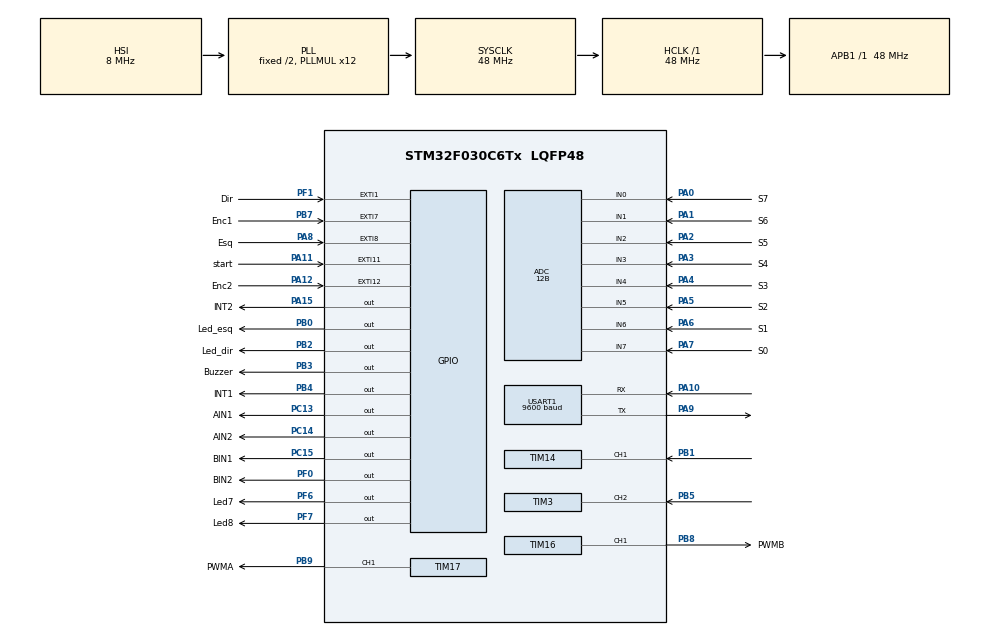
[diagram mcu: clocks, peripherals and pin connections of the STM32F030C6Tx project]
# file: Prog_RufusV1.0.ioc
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ADC.ClockPrescaler=ADC_CLOCK_ASYNC_DIV1
ADC.ContinuousConvMode=ENABLE
ADC.DMAContinuousRequests=ENABLE
ADC.EOCSelection=ADC_EOC_SEQ_CONV
ADC.Resolution=ADC_RESOLUTION_12B
ADC.SamplingTime=ADC_SAMPLETIME_7CYCLES_5
Dma.ADC.0.Direction=DMA_PERIPH_TO_MEMORY
Dma.ADC.0.Instance=DMA1_Channel1
Dma.ADC.0.MemDataAlignment=DMA_MDATAALIGN_HALFWORD
Dma.ADC.0.MemInc=DMA_MINC_ENABLE
Dma.ADC.0.Mode=DMA_CIRCULAR
Dma.ADC.0.PeriphDataAlignment=DMA_PDATAALIGN_HALFWORD
Dma.ADC.0.PeriphInc=DMA_PINC_DISABLE
Dma.ADC.0.Priority=DMA_PRIORITY_HIGH
Dma.Request0=ADC
Dma.Request1=USART1_RX
Dma.USART1_RX.1.Direction=DMA_PERIPH_TO_MEMORY
Dma.USART1_RX.1.Instance=DMA1_Channel3
Dma.USART1_RX.1.MemDataAlignment=DMA_MDATAALIGN_BYTE
Dma.USART1_RX.1.MemInc=DMA_MINC_ENABLE
Dma.USART1_RX.1.Mode=DMA_CIRCULAR
Dma.USART1_RX.1.PeriphDataAlignment=DMA_PDATAALIGN_BYTE
Dma.USART1_RX.1.PeriphInc=DMA_PINC_DISABLE
Dma.USART1_RX.1.Priority=DMA_PRIORITY_VERY_HIGH
Mcu.Family=STM32F0
Mcu.Name=STM32F030C6Tx
Mcu.Package=LQFP48
NVIC.ADC1_IRQn=true\:1\:0\:true\:false\:true\:true\:true
NVIC.DMA1_Channel1_IRQn=true\:1\:0\:true\:false\:true\:false\:true
NVIC.DMA1_Channel2_3_IRQn=true\:1\:0\:true\:false\:true\:false\:true
NVIC.EXTI0_1_IRQn=true\:0\:0\:true\:false\:true\:true\:true
NVIC.EXTI4_15_IRQn=true\:0\:0\:true\:false\:true\:true\:true
NVIC.TIM14_IRQn=true\:1\:0\:true\:false\:true\:true\:true
NVIC.TIM3_IRQn=true\:1\:0\:true\:false\:true\:true\:true
NVIC.USART1_IRQn=true\:1\:0\:true\:false\:true\:true\:true
PA0.GPIO_Label=S7
PA0.Mode=IN0
PA0.Signal=ADC_IN0
PA1.GPIO_Label=S6
PA1.Mode=IN1
PA1.Signal=ADC_IN1
PA10.Mode=Asynchronous
PA10.Signal=USART1_RX
PA11.GPIO_Label=start
PA11.GPIO_ModeDefaultEXTI=GPIO_MODE_IT_RISING
PA11.Signal=GPXTI11
PA12.GPIO_Label=Enc2
PA12.Signal=GPXTI12
PA13.Mode=Serial_Wire
PA13.Signal=SYS_SWDIO
PA14.Mode=Serial_Wire
PA14.Signal=SYS_SWCLK
PA15.GPIO_Label=INT2
PA15.Signal=GPIO_Output
PA2.GPIO_Label=S5
PA2.Mode=IN2
PA2.Signal=ADC_IN2
PA3.GPIO_Label=S4
PA3.Mode=IN3
PA3.Signal=ADC_IN3
PA4.GPIO_Label=S3
PA4.Mode=IN4
PA4.Signal=ADC_IN4
PA5.GPIO_Label=S2
PA5.Mode=IN5
PA5.Signal=ADC_IN5
PA6.GPIO_Label=S1
PA6.Mode=IN6
PA6.Signal=ADC_IN6
PA7.GPIO_Label=S0
PA7.Mode=IN7
PA7.Signal=ADC_IN7
PA8.GPIO_Label=Esq
PA8.GPIO_PuPd=GPIO_NOPULL
PA8.Signal=GPXTI8
PA9.Mode=Asynchronous
PA9.Signal=USART1_TX
PB0.GPIO_Label=Led_esq
PB0.GPIO_PuPd=GPIO_NOPULL
PB0.PinState=GPIO_PIN_SET
PB0.Signal=GPIO_Output
PB1.Signal=S_TIM14_CH1
PB2.GPIO_Label=Led_dir
PB2.GPIO_PuPd=GPIO_NOPULL
PB2.PinState=GPIO_PIN_SET
PB2.Signal=GPIO_Output
PB3.GPIO_Label=Buzzer
PB3.Signal=GPIO_Output
PB4.GPIO_Label=INT1
PB4.Signal=GPIO_Output
PB5.Signal=S_TIM3_CH2
PB7.GPIO_Label=Enc1
PB7.Signal=GPXTI7
PB8.GPIO_Label=PWMB
PB8.Signal=S_TIM16_CH1
PB9.GPIO_Label=PWMA
PB9.Signal=S_TIM17_CH1
PC13.GPIO_Label=AIN1
PC13.Signal=GPIO_Output
PC14-OSC32_IN.GPIO_Label=AIN2
PC14-OSC32_IN.Signal=GPIO_Output
PC15-OSC32_OUT.GPIO_Label=BIN1
PC15-OSC32_OUT.Signal=GPIO_Output
PF0-OSC_IN.GPIO_Label=BIN2
PF0-OSC_IN.Signal=GPIO_Output
PF1-OSC_OUT.GPIO_Label=Dir
PF1-OSC_OUT.GPIO_ModeDefaultEXTI=GPIO_MODE_IT_FALLING
PF1-OSC_OUT.GPIO_PuPd=GPIO_NOPULL
PF1-OSC_OUT.Signal=GPXTI1
PF6.GPIO_Label=Led7
PF6.GPIO_PuPd=GPIO_NOPULL
PF6.GPIO_Speed=GPIO_SPEED_FREQ_LOW
PF6.PinState=GPIO_PIN_SET
PF6.Signal=GPIO_Output
PF7.GPIO_Label=Led8
PF7.GPIO_PuPd=GPIO_NOPULL
PF7.PinState=GPIO_PIN_SET
PF7.Signal=GPIO_Output
ProjectManager.HeapSize=0x200
ProjectManager.StackSize=0x400
ProjectManager.TargetToolchain=SW4STM32
RCC.AHBFreq_Value=48000000
RCC.APB1Freq_Value=48000000
RCC.APB1TimFreq_Value=48000000
RCC.HCLKFreq_Value=48000000
RCC.PLLMUL=RCC_PLL_MUL12
RCC.SYSCLKFreq_VALUE=48000000
RCC.SYSCLKSource=RCC_SYSCLKSOURCE_PLLCLK
SH.S_TIM14_CH1.0=TIM14_CH1,Input_Capture1_from_TI1
SH.S_TIM16_CH1.0=TIM16_CH1,PWM Generation1 CH1
SH.S_TIM17_CH1.0=TIM17_CH1,PWM Generation1 CH1
SH.S_TIM3_CH2.0=TIM3_CH2,Input_Capture2_from_TI2
TIM1.Period=64999
TIM1.Prescaler=47
TIM14.Channel=TIM_CHANNEL_1
TIM14.Period=1000
TIM14.Prescaler=47
TIM16.Channel=TIM_CHANNEL_1
TIM16.OCFastMode_PWM=TIM_OCFAST_ENABLE
TIM16.Period=1000
TIM16.Prescaler=4
TIM17.Channel=TIM_CHANNEL_1
TIM17.ClockDivision=TIM_CLOCKDIVISION_DIV1
TIM17.OCFastMode_PWM=TIM_OCFAST_ENABLE
TIM17.OCMode_PWM=TIM_OCMODE_PWM1
TIM17.Period=1000
TIM17.Prescaler=4
TIM3.AutoReloadPreload=TIM_AUTORELOAD_PRELOAD_DISABLE
TIM3.Channel-Input_Capture2_from_TI2=TIM_CHANNEL_2
TIM3.Period=1
TIM3.Prescaler=47999
USART1.BaudRate=9600
USART1.SwapParam=ADVFEATURE_SWAP_ENABLE
USART1.VirtualMode-Asynchronous=VM_ASYNC
VP_TIM14_VS_ClockSourceINT.Mode=Enable_Timer
VP_TIM16_VS_ClockSourceINT.Mode=Enable_Timer
VP_TIM17_VS_ClockSourceINT.Mode=Enable_Timer
VP_TIM1_VS_ClockSourceINT.Mode=Internal
VP_TIM3_VS_ClockSourceINT.Mode=Internal
board=custom

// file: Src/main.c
/* USER CODE BEGIN Header */
/**
 ******************************************************************************
 * @file           : main.c
 * @brief          : Main program body
 ******************************************************************************
 * @attention
 *
 * <h2><center>&copy; Copyright (c) 2019 STMicroelectronics.
 * All rights reserved.</center></h2>
 *
 * This software component is licensed by ST under BSD 3-Clause license,
 * the "License"; You may not use this file except in compliance with the
 * License. You may obtain a copy of the License at:
 *                        opensource.org/licenses/BSD-3-Clause
 *
 ******************************************************************************
 */
/* USER CODE END Header */

#include "main.h"
#include "adc.h"
#include "dma.h"
#include "tim.h"
#include "usart.h"
#include "gpio.h"

/* USER CODE BEGIN Includes */
#include "drive_TB66.h"
#include "controle.h"
#include "Bluetooth.h"
//#include "controle.h"
/* USER CODE END Includes */

void SystemClock_Config(void);

/* USER CODE BEGIN 0 */
uint8_t rx_endereco[Pacote_variaveis] = { 0 };
rx_pacote_estado_t pacote_estado = RX_STATUS_ERRO;
void serial_init(void) {
	MX_DMA_Init();
	MX_USART1_UART_Init();
	HAL_UART_Receive_DMA(&huart1, rx_endereco, Pacote_variaveis);

}
uint8_t adc_completo = 0;
void HAL_ADC_ConvCpltCallback(ADC_HandleTypeDef* hadc) {

	adc_completo = 1;
}
void HAL_UART_RxCpltCallback(UART_HandleTypeDef* huart) {

	if (huart->Instance != USART1) {
		return;
	}

	if (rx_endereco[RX_Pacote_Comeco_I] != RX_Pacote_comeco
			|| rx_endereco[RX_Pacote_fim_I] != RX_Pacote_fim) {
		pacote_estado = RX_STATUS_ERRO;
		for (int i = 0; i < Pacote_variaveis; i++) {
			rx_endereco[i] = 0;
		}
		return;
	}

	Start = rx_endereco[RX_Pacote_Start_I];

	Direita_Recebida = rx_endereco[RX_Pacote_Direita_I];

	Encoder1_Recebida = rx_endereco[RX_Pacote_Encoder_I];

	Velocidade_Inicial_Recebida = rx_endereco[RX_Pacote_velocidade_inicial_I];

	Velocidade_Final_Recebida = rx_endereco[RX_Pacote_velocidade_Final_I];

	Kp_Recebido = (rx_endereco[RX_Pacote_Kp_I]);

	Kd_Recebido = (rx_endereco[RX_Pacote_Kd_I]);

	Ki_Recebido = (rx_endereco[RX_Pacote_Ki_I]);

}
volatile int scan;
void HAL_TIM_PeriodElapsedCallback(TIM_HandleTypeDef *htim) {
	if (htim->Instance == TIM3) {
		posicao();
		PID();
		TIM3->SR &= ~TIM_SR_UIF;
	}
	if (htim->Instance == TIM14) {
		scanner();
		scan++;
		TIM14->SR &= ~TIM_SR_UIF;
	}
}

/* USER CODE END 0 */

int main(void) {

	/* MCU Configuration--------------------------------------------------------*/

	/* Reset of all peripherals, Initializes the Flash interface and the Systick. */
	HAL_Init();

	/* Configure the system clock */
	SystemClock_Config();

	/* Initialize all configured peripherals */
	MX_GPIO_Init();
	MX_DMA_Init();
	MX_ADC_Init();
	MX_TIM1_Init();
	MX_TIM14_Init();
	MX_TIM16_Init();
	MX_TIM17_Init();
	MX_USART1_UART_Init();
	MX_TIM3_Init();
	/* USER CODE BEGIN 2 */
	serial_init();
	power = 0;
	Direita = 0;
	Esquerda = 1;
	Encoder1 = 0;
	Encoder2 = 0;
	int reset = 1;
	int vi_1PID;
	int vi_2PID;
	/* USER CODE END 2 */

	/* Infinite loop */
	/* USER CODE BEGIN WHILE */
	while (1) {
		HAL_GPIO_WritePin(Led_dir_GPIO_Port, Led_dir_Pin,SET);
		HAL_GPIO_WritePin(Led_esq_GPIO_Port, Led_esq_Pin,SET);
		HAL_GPIO_WritePin(Led8_GPIO_Port, Led8_Pin, RESET);
		while ((power) || (Start)) {
			vi_1 = 25; // Velocidade_Inicial_Recebida;
			vi_2 = 25; //Velocidade_Inicial_Recebida;
			HAL_GPIO_WritePin(Led7_GPIO_Port, Led7_Pin, RESET);
			HAL_Delay(2000);
			HAL_ADCEx_Calibration_Start(&hadc);
			HAL_ADC_Start_DMA(&hadc, (uint32_t*) adc_valor, 8);
			while (!adc_completo)
				;
			adc_completo = 0;
			inicia_scanner();
			HAL_TIM_Base_Start_IT(&htim14);
			while (scan < 450) {
				velocidade_motor1(0);
				velocidade_motor2(21);
			}
			scan = 0;
			velocidade_motor1(0);
			velocidade_motor2(0);
			motor1_freio();
			motor2_freio();
			HAL_Delay(250);
			while (scan < 1000) {
				velocidade_motor1(0);
				velocidade_motor2(-21);
			}
			scan = 0;
			velocidade_motor1(0);
			velocidade_motor2(0);
			motor1_freio();
			motor2_freio();
			HAL_Delay(250);
			while (scan < 620) {
				velocidade_motor1(0);
				velocidade_motor2(21);
			}
			velocidade_motor1(0);
			velocidade_motor2(0);
			motor1_freio();
			motor2_freio();
			HAL_Delay(500);
			/*while (scan < 10000) {
			 }
			 HAL_GPIO_WritePin(Led7_GPIO_Port, Led7_Pin, SET);
			 HAL_Delay(2000);
			 */
			HAL_TIM_Base_Stop_IT(&htim14);
			HAL_TIM_Base_Start_IT(&htim3);
			Direita = 0;
			vi_1 = 25; // Velocidade_Inicial_Recebida;
			vi_2 = 25; // Velocidade_Inicial_Recebida;
			while ((power) || (Start)) {
				HAL_GPIO_WritePin(Led_dir_GPIO_Port, Led_dir_Pin,SET);
				HAL_GPIO_WritePin(Led_esq_GPIO_Port, Led_esq_Pin,SET);
				//velocidade_motor1(+PID_valor);
				//velocidade_motor2(-PID_valor);
				if (valor_posicao == 0) {
					/*if (vi_1 < 25) { //Velocidade_Final_Recebida) {
						vi_1++;
						vi_2++;
					}*/
					velocidade_motor1(vi_1);
					velocidade_motor2(vi_2);

				} else {
					velocidade_motor1(vi_1 + PID_valor);
					velocidade_motor2(vi_2 - PID_valor);
				}
				if (Direita >= 4) { //Direita_Recebida) {
					if (Encoder1 >= 25) { //Encoder1_Recebida) { //antigo = 25
						while (reset) {
							velocidade_motor1(0);
							velocidade_motor2(0);
							motor1_freio();
							motor2_freio();
							HAL_GPIO_WritePin(Led7_GPIO_Port, Led7_Pin, SET);
							if (!Start) {
								power = 0;
								reset = 0;
								Direita = 0;
								Encoder1 = 0;
							}
						}
					}
				}
			}
			if (!Start) {
				reset = 1;
				Direita = 0;
				Encoder1 = 0;
				velocidade_motor1(0);
				velocidade_motor2(0);
				motor1_freio();
				motor2_freio();
				HAL_GPIO_WritePin(Led7_GPIO_Port, Led7_Pin, SET);
			}
		}
		/* USER CODE END WHILE */

	}
}

void SystemClock_Config(void) {
	RCC_OscInitTypeDef RCC_OscInitStruct = { 0 };
	RCC_ClkInitTypeDef RCC_ClkInitStruct = { 0 };
	RCC_PeriphCLKInitTypeDef PeriphClkInit = { 0 };

	/** Initializes the CPU, AHB and APB busses clocks
	 */
	RCC_OscInitStruct.OscillatorType = RCC_OSCILLATORTYPE_HSI
			| RCC_OSCILLATORTYPE_HSI14;
	RCC_OscInitStruct.HSIState = RCC_HSI_ON;
	RCC_OscInitStruct.HSI14State = RCC_HSI14_ON;
	RCC_OscInitStruct.HSICalibrationValue = RCC_HSICALIBRATION_DEFAULT;
	RCC_OscInitStruct.HSI14CalibrationValue = 16;
	RCC_OscInitStruct.PLL.PLLState = RCC_PLL_ON;
	RCC_OscInitStruct.PLL.PLLSource = RCC_PLLSOURCE_HSI;
	RCC_OscInitStruct.PLL.PLLMUL = RCC_PLL_MUL12;
	RCC_OscInitStruct.PLL.PREDIV = RCC_PREDIV_DIV1;
	if (HAL_RCC_OscConfig(&RCC_OscInitStruct) != HAL_OK) {
		Error_Handler();
	}
	/** Initializes the CPU, AHB and APB busses clocks
	 */
	RCC_ClkInitStruct.ClockType = RCC_CLOCKTYPE_HCLK | RCC_CLOCKTYPE_SYSCLK
			| RCC_CLOCKTYPE_PCLK1;
	RCC_ClkInitStruct.SYSCLKSource = RCC_SYSCLKSOURCE_PLLCLK;
	RCC_ClkInitStruct.AHBCLKDivider = RCC_SYSCLK_DIV1;
	RCC_ClkInitStruct.APB1CLKDivider = RCC_HCLK_DIV1;

	if (HAL_RCC_ClockConfig(&RCC_ClkInitStruct, FLASH_LATENCY_1) != HAL_OK) {
		Error_Handler();
	}
	PeriphClkInit.PeriphClockSelection = RCC_PERIPHCLK_USART1;
	PeriphClkInit.Usart1ClockSelection = RCC_USART1CLKSOURCE_PCLK1;
	if (HAL_RCCEx_PeriphCLKConfig(&PeriphClkInit) != HAL_OK) {
		Error_Handler();
	}
	HAL_RCC_MCOConfig(RCC_MCO, RCC_MCO1SOURCE_SYSCLK, RCC_MCODIV_1);
}

/* USER CODE BEGIN 4 */

void HAL_GPIO_EXTI_Callback(uint16_t GPIO_Pin) {
	/*if (!HAL_GPIO_ReadPin(Esq_GPIO_Port, Esq_Pin)) {
		if (!HAL_GPIO_ReadPin(Esq_GPIO_Port, Esq_Pin)) {
			int tempo = 3;
			unsigned int valorNovo = 0x0000;
			unsigned int valorAntigo = 0x0000;
			valorNovo = HAL_GPIO_ReadPin(Esq_GPIO_Port, Esq_Pin);
			HAL_GPIO_WritePin(Led_esq_GPIO_Port, Led_esq_Pin,RESET);
			if (valorAntigo == valorNovo) {
				tempo--;
			} else {
				tempo = 3;
				valorAntigo = valorNovo;
				HAL_GPIO_WritePin(Led_esq_GPIO_Port, Led_esq_Pin,SET);
			}
			if (tempo == 0) {
				Esquerda++;
				HAL_GPIO_WritePin(Led_esq_GPIO_Port, Led_esq_Pin,SET);
			}
		}
	}*/
	if (HAL_GPIO_ReadPin(start_GPIO_Port, start_Pin)) {
		power = 1;
	}
	if (!HAL_GPIO_ReadPin(Enc1_GPIO_Port, Enc1_Pin)) {
		if (Direita >= 4) { //Direita_Recebida) {
			Encoder1++;
		}
	}
	if (!HAL_GPIO_ReadPin(Dir_GPIO_Port, Dir_Pin)) {
		if (!HAL_GPIO_ReadPin(Dir_GPIO_Port, Dir_Pin)) {
			int tempo = 3;
			unsigned int valorNovo = 0x0000;
			unsigned int valorAntigo = 0x0000;
			valorNovo = HAL_GPIO_ReadPin(Dir_GPIO_Port, Dir_Pin);
			HAL_GPIO_WritePin(Led_dir_GPIO_Port, Led_dir_Pin,RESET);
			if (valorAntigo == valorNovo) {
				tempo--;
			} else {
				tempo = 3;
				valorAntigo = valorNovo;
				HAL_GPIO_WritePin(Led_dir_GPIO_Port, Led_dir_Pin,SET);
			}
			if (tempo == 0) {
				Direita++;
				HAL_GPIO_WritePin(Led_dir_GPIO_Port, Led_dir_Pin,SET);
			}

		}

	}
}
/* USER CODE END 4 */

void Error_Handler(void) {
}

/************************ (C) COPYRIGHT STMicroelectronics *****END OF FILE****/
